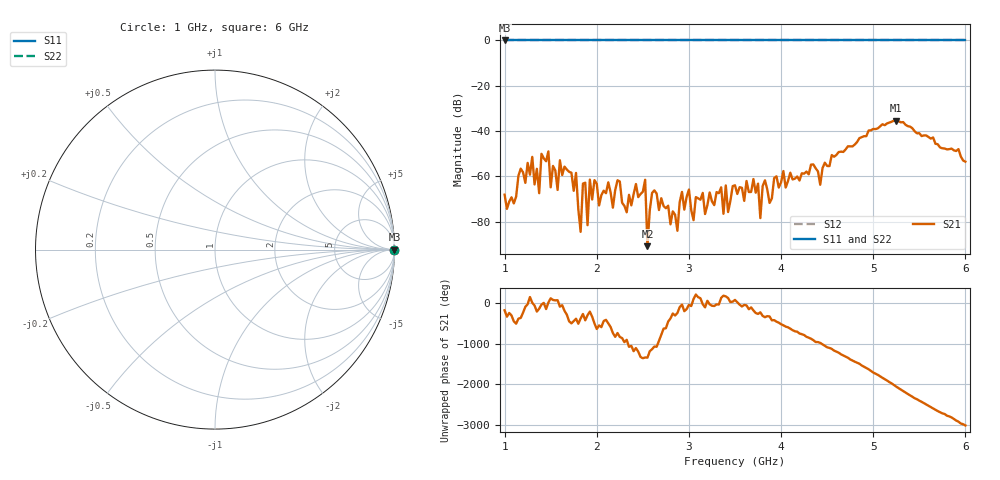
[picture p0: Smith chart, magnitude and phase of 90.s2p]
!Keysight Technologies N9926A: A.08.19
!Date: Sunday, 01 March 2026 13:35:43
!Timezone: (GMT-06:00) Central Time (US & Canada)
!Model: N9926A
!Serial: MY53102721
!GPS Latitude:
!GPS Longitude:
!GPS TimeStamp: 0001-01-01 00:00:00Z
!GPS Seconds Since Last Read: 0
!CHECKSUM:0083149449
!Correction: S11()S21(ON U)S12()S22()
!S2P File: Measurements:S11,S21,S12,S22:
# Hz S DB R 50
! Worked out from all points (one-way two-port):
!   201 points, 1 GHz to 6 GHz, reference 50 ohm
!   highest |S21| = -35.37 dB at 5.25 GHz (marker M1); lowest = -90.9 dB at 2.55 GHz (marker M2)
!   lowest |S11| = 0.0 dB at 1 GHz (marker M3)
!   |S11| at or under -10 dB: nowhere
!   |S22| runs from 0.0 to 0.0 dB; largest |S21 - S12| = 1
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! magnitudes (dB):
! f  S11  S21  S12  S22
! 1 GHz  0.0  -68.1  0.0  0.0
! 1.3 GHz  0.0  -51.4  0.0  0.0
! 1.375 GHz  0.0  -67.5  0.0  0.0
! 1.475 GHz  0.0  -49.0  0.0  0.0
! 1.5 GHz  0.0  -64.9  0.0  0.0
! 1.775 GHz  0.0  -58.5  0.0  0.0
! 1.825 GHz  0.0  -84.5  0.0  0.0
! 1.85 GHz  0.0  -63.2  0.0  0.0
! 1.9 GHz  0.0  -81.6  0.0  0.0
! 1.925 GHz  0.0  -61.5  0.0  0.0
! 2.325 GHz  0.0  -75.9  0.0  0.0
! 2.525 GHz  0.0  -61.5  0.0  0.0
! 2.55 GHz  0.0  -90.9  0.0  0.0
! 2.675 GHz  0.0  -74.9  0.0  0.0
! 3.5 GHz  0.0  -64.0  0.0  0.0
! 3.75 GHz  0.0  -63.2  0.0  0.0
! 3.775 GHz  0.0  -78.5  0.0  0.0
! 3.825 GHz  0.0  -61.8  0.0  0.0
! 4.35 GHz  0.0  -54.8  0.0  0.0
! 5.175 GHz  0.0  -36.3  0.0  0.0
! 5.25 GHz  0.0  -35.4  0.0  0.0
! 6 GHz  0.0  -53.5  0.0  0.0
